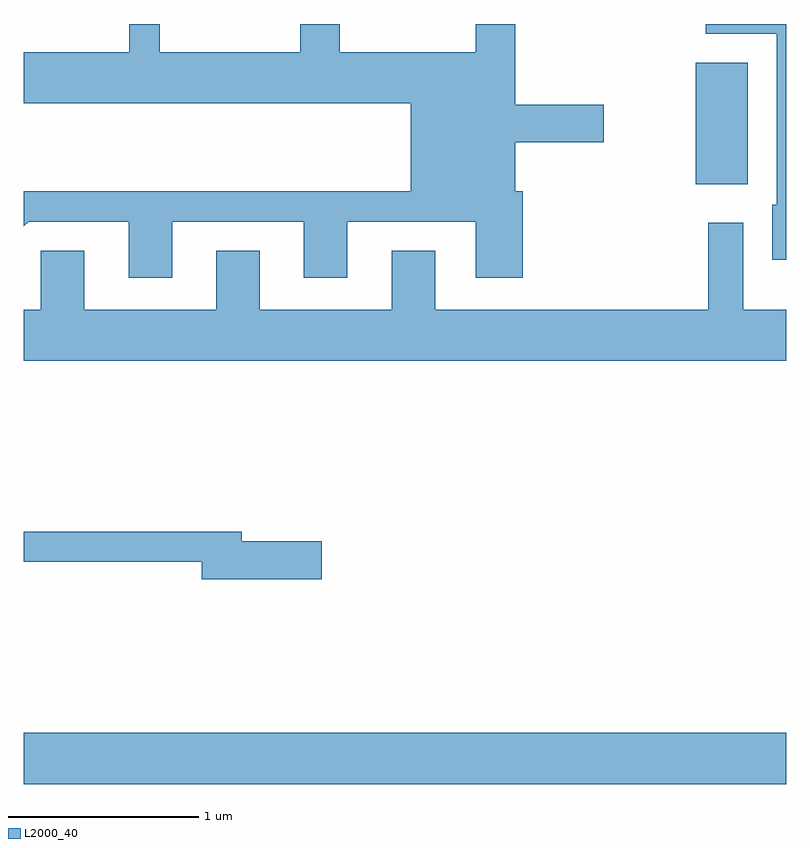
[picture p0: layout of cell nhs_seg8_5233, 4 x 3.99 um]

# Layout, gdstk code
import gdstk
lib = gdstk.Library(unit=1e-6, precision=1e-09)
def R(c, l, rs):  # rectangles x0, y0, x1, y1
    for r in rs: c.add(gdstk.rectangle(r[:2], r[2:], *l))
def P(c, l, *ps):  # polygons
    for p in ps: c.add(gdstk.Polygon(p, *l))
L2000_40 = (2000, 40)

nhs_seg8_5233 = lib.new_cell('nhs_seg8_5233')
R(nhs_seg8_5233, L2000_40, [(341.611,1896.356,345.611,1896.624), (345.136,1899.501,345.409,1900.139)])
P(nhs_seg8_5233, L2000_40, [(342.389,1899.306),(343.081,1899.306),(343.081,1899.011),(343.309,1899.011),(343.309,1899.306),(343.981,1899.306),(343.981,1899.011),(344.229,1899.011),(344.229,1899.464),(344.189,1899.464),(344.189,1899.721),(344.654,1899.721),(344.654,1899.919),(344.189,1899.919),(344.189,1900.342),(343.981,1900.342),(343.981,1900.194),(343.269,1900.194),(343.269,1900.342),(343.061,1900.342),(343.061,1900.194),(342.324,1900.194),(342.324,1900.342),(342.166,1900.342),(342.166,1900.194),(341.611,1900.194),(341.611,1899.926),(343.641,1899.926),(343.641,1899.464),(341.611,1899.464),(341.611,1899.28),(341.637,1899.306),(342.161,1899.306),(342.161,1899.011),(342.389,1899.011)],
  [(345.611,1900.342),(345.188,1900.342),(345.188,1900.291),(345.561,1900.291),(345.561,1899.394),(345.536,1899.394),(345.536,1899.106),(345.611,1899.106)],
  [(345.611,1898.844),(345.384,1898.844),(345.384,1899.299),(345.201,1899.299),(345.201,1898.844),(343.769,1898.844),(343.769,1899.154),(343.541,1899.154),(343.541,1898.844),(342.849,1898.844),(342.849,1899.154),(342.621,1899.154),(342.621,1898.844),(341.929,1898.844),(341.929,1899.154),(341.701,1899.154),(341.701,1898.844),(341.611,1898.844),(341.611,1898.576),(345.611,1898.576)],
  [(343.174,1897.629),(342.754,1897.629),(342.754,1897.679),(341.611,1897.679),(341.611,1897.521),(342.546,1897.521),(342.546,1897.431),(343.174,1897.431)])

lib.write_gds('nhs_seg8_5233.gds')
